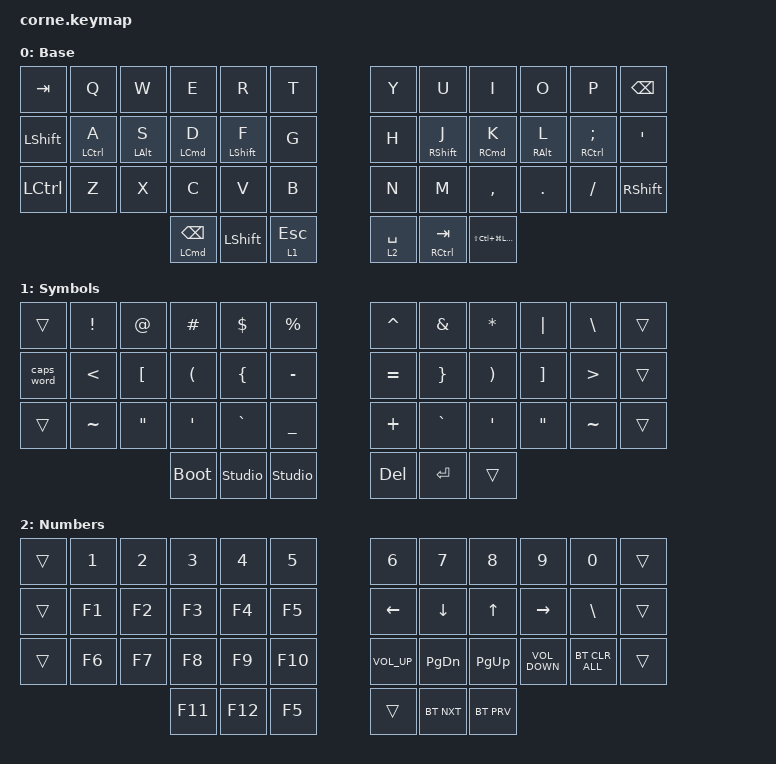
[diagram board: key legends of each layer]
#include <behaviors.dtsi>
#include <dt-bindings/zmk/bt.h>
#include <dt-bindings/zmk/keys.h>

#define DEF 0
#define NAV 1
#define SYM 2
#define ADJ 3
#define EXTRA 4
#define TAPPING_TERM_MS 200
#define QUICK_TAP_MS 200
#define REQUIRE_PRIOR_IDLE_MS 0
#define KEYS_L 0 1 2 3 4 5 12 13 14 15 16 17 24 25 26 27 28 29
#define KEYS_R 6 7 8 9 10 11 18 19 20 21 22 23 30 31 32 33 34 35
#define THUMBS 36 37 38 39 40 41

&mt {
  flavor = "balanced";
  tapping-term-ms = <TAPPING_TERM_MS>;
  quick-tap-ms = <QUICK_TAP_MS>;
  require-prior-idle-ms = <REQUIRE_PRIOR_IDLE_MS>;
};

&lt {
  flavor = "balanced";
  tapping-term-ms = <TAPPING_TERM_MS>;
  quick-tap-ms = <QUICK_TAP_MS>;
  require-prior-idle-ms = <REQUIRE_PRIOR_IDLE_MS>;
};

&sk {
  quick-release;
};

/ {
    behaviors {
        hml: home_row_mod_left {
            bindings = <&kp>, <&kp>;
            compatible = "zmk,behavior-hold-tap";
            flavor = "balanced";
            hold-trigger-key-positions = <KEYS_R THUMBS>;
            tapping-term-ms = <TAPPING_TERM_MS>;
            quick-tap-ms = <QUICK_TAP_MS>;
            require-prior-idle-ms = <REQUIRE_PRIOR_IDLE_MS>;
            #binding-cells = <2>;
        };

        hmr: home_row_mod_right {
          bindings = <&kp>, <&kp>;
          compatible = "zmk,behavior-hold-tap";
          flavor = "balanced";
          hold-trigger-key-positions = <KEYS_L THUMBS>;
          tapping-term-ms = <TAPPING_TERM_MS>;
          quick-tap-ms = <QUICK_TAP_MS>;
          require-prior-idle-ms = <REQUIRE_PRIOR_IDLE_MS>;
          #binding-cells = <2>;
        };
    };

    combos {
    };

    //

    keymap {
        compatible = "zmk,keymap";

        DEF {
            display-name = "Base";

            // -----------------------------------------------------------------------------------------
            // |  Q  |  W  |  E  |  R  |  T  |   |  Y  |  U   |  I  |  O  |  P  |
            // |  A  |  S  |  D  |  F  |  G  |   |  H  |  J   |  K  |  L  |  ;  |
            // |  Z  |  X  |  C  |  V  |  B  |   |  N  |  M   |  ,  |  .  |  /  |
            // | GUI | CTRL | SHFT | LWR | SPC |   | ENT | RSE  | BKSP | ALT | ESC |

            bindings = <
&kp TAB    &kp Q         &kp W            &kp E                        &kp R              &kp T           &kp Y        &kp U               &kp I                     &kp O             &kp P                    &kp BACKSPACE
&kp LSHFT  &mt LCTRL A  &mt LEFT_ALT S  &mt LEFT_COMMAND D          &mt LEFT_SHIFT F  &kp G           &kp H        &mt RIGHT_SHIFT J  &mt RIGHT_COMMAND K      &mt RIGHT_ALT L  &mt RIGHT_CONTROL SEMI  &kp SQT
&kp LCTRL  &kp Z         &kp X            &kp C                        &kp V              &kp B           &kp N        &kp M               &kp COMMA                 &kp DOT           &kp FSLH                 &kp RSHFT
                                          &mt LEFT_COMMAND BACKSPACE  &kp LEFT_SHIFT     &lt 1 ESCAPE    &lt 2 SPACE  &mt RCTRL TAB      &kp LS(LC(LG(LEFT_ALT)))
            >;
        };

        SYMBOL {
            display-name = "Symbols";

            // -----------------------------------------------------------------------------------------
            // |  TAB |  1  |  2  |  3  |  4  |  5  |   |  6  |  7  |  8  |  9  |  0  | BKSP |
            // | BTCLR| BT1 | BT2 | BT3 | BT4 | BT5 |   | LFT | DWN |  UP | RGT |     |      |
            // | SHFT |     |     |     |     |     |   |     |     |     |     |     |      |
            // | GUI | CTRL | SHFT | LWR | SPC |   | ENT | RSE  | BKSP | ALT | ESC |

            bindings = <
&trans      &kp EXCLAMATION  &kp AT_SIGN        &kp HASH              &kp DOLLAR      &kp PERCENT       &kp CARET   &kp AMPERSAND    &kp ASTERISK           &kp PIPE           &kp BACKSLASH     &trans
&caps_word  &kp LESS_THAN    &kp LEFT_BRACKET   &kp LEFT_PARENTHESIS  &kp LEFT_BRACE  &kp MINUS         &kp EQUAL   &kp RIGHT_BRACE  &kp RIGHT_PARENTHESIS  &kp RIGHT_BRACKET  &kp GREATER_THAN  &trans
&trans      &kp TILDE        &kp DOUBLE_QUOTES  &kp SQT               &kp GRAVE       &kp UNDERSCORE    &kp PLUS    &kp GRAVE        &kp SQT                &kp DOUBLE_QUOTES  &kp TILDE         &trans
                                                &bootloader           &studio_unlock  &studio_unlock    &kp DELETE  &kp ENTER        &trans
            >;
        };

        NUM {
            display-name = "Numbers";

            // -----------------------------------------------------------------------------------------
            // |  TAB |  !  |  @  |  #  |  $  |  %  |   |  ^  |  &  |  *  |  (  |  )  | BKSP |
            // | CTRL |     |     |     |     |     |   |  -  |  =  |  [  |  ]  |  \  |  `   |
            // | SHFT |     |     |     |     |     |   |  _  |  +  |  {  |  }  | "|" |  ~   |
            //                    | GUI |     | SPC |   | ENT |     | ALT |

            bindings = <
&trans  &kp NUMBER_1  &kp NUMBER_2  &kp NUMBER_3  &kp NUMBER_4  &kp N5     &kp NUMBER_6     &kp N7         &kp N8        &kp N9             &kp N0          &trans
&trans  &kp F1        &kp F2        &kp F3        &kp F4        &kp F5     &kp LEFT         &kp DOWN       &kp UP_ARROW  &kp RIGHT          &kp BSLH        &trans
&trans  &kp F6        &kp F7        &kp F8        &kp F9        &kp F10    &kp K_VOLUME_UP  &kp PAGE_DOWN  &kp PAGE_UP   &kp K_VOLUME_DOWN  &bt BT_CLR_ALL  &trans
                                    &kp F11       &kp F12       &kp F5     &trans           &bt BT_NXT     &bt BT_PRV
            >;
        };
    };

    conditional_layers { compatible = "zmk,conditional-layers"; };
};
